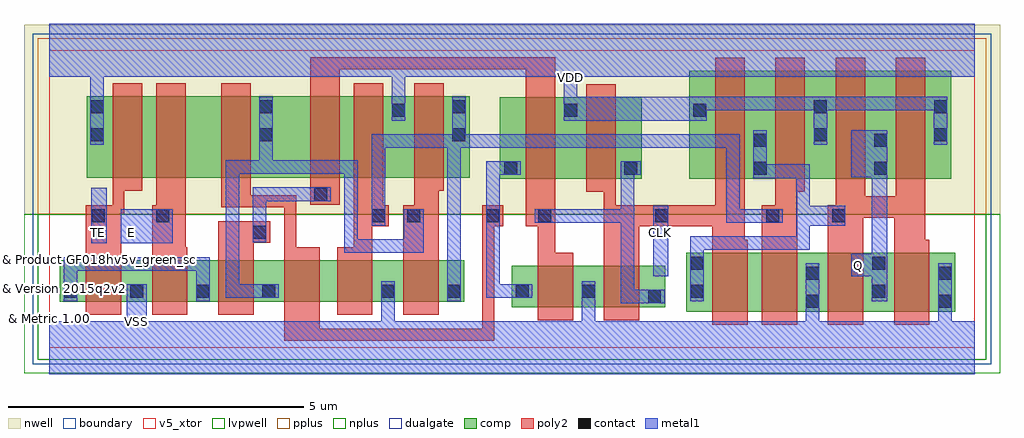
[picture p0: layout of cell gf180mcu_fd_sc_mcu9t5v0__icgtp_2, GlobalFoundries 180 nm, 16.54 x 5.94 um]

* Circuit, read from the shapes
.subckt gf180mcu_fd_sc_mcu9t5v0__icgtp_2 CLK E Q TE VDD VSS
XM1 VSS TE n1 VSUBS nfet_05v0 w=0.7u l=0.6u
XM2 n1 E VSS VSUBS nfet_05v0 w=0.7u l=0.6u
XM3 n2 n3 n1 VSUBS nfet_05v0 w=0.7u l=0.6u
XM4 n4 n5 n2 VSUBS nfet_05v0 w=0.7u l=0.6u
XM5 VSS n6 n4 VSUBS nfet_05v0 w=0.7u l=0.6u
XM6 n6 n2 VSS VSUBS nfet_05v0 w=0.7u l=0.6u
XM7 VSS n3 n5 VSUBS nfet_05v0 w=0.7u l=0.6u
XM8 n3 CLK VSS VSUBS nfet_05v0 w=0.7u l=0.6u
XM9 n7 CLK n8 VSUBS nfet_05v0 w=1u l=0.6u
XM10 VSS n6 n7 VSUBS nfet_05v0 w=1u l=0.6u
XM11 Q n8 VSS VSUBS nfet_05v0 w=1u l=0.6u m=2
XM12 n9 TE VDD n10 pfet_05v0 w=1.38u l=0.5u
XM13 n11 E n9 n10 pfet_05v0 w=1.38u l=0.5u
XM14 n2 n5 n11 n10 pfet_05v0 w=1.38u l=0.5u
XM15 n12 n3 n2 n10 pfet_05v0 w=1.38u l=0.5u
XM16 VDD n6 n12 n10 pfet_05v0 w=1.38u l=0.5u
XM17 n6 n2 VDD n10 pfet_05v0 w=1.38u l=0.5u
XM18 VDD n3 n5 n10 pfet_05v0 w=1.38u l=0.5u
XM19 n3 CLK VDD n10 pfet_05v0 w=1.38u l=0.5u
XM20 n8 CLK VDD n10 pfet_05v0 w=1.83u l=0.5u
XM21 VDD n6 n8 n10 pfet_05v0 w=1.83u l=0.5u
XM22 Q n8 VDD n10 pfet_05v0 w=1.83u l=0.5u m=2
.ends

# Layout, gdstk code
import gdstk
lib = gdstk.Library(unit=1e-6, precision=1e-09)
def R(c, l, rs):  # rectangles x0, y0, x1, y1
    for r in rs: c.add(gdstk.rectangle(r[:2], r[2:], *l))
def A(c, l, x, y, w, h, nx, ny, dx, dy):  # array of equal rectangles
    R(c, l, [(x+i*dx, y+j*dy, x+i*dx+w, y+j*dy+h) for i in range(nx) for j in range(ny)])
def P(c, l, *ps):  # polygons
    for p in ps: c.add(gdstk.Polygon(p, *l))
boundary = (0, 0)
nwell = (21, 0)
comp = (22, 0)
poly2 = (30, 0)
pplus = (31, 0)
nplus = (32, 0)
contact = (33, 0)
metal1 = (34, 0)
dualgate = (55, 0)
v5_xtor = (112, 1)
lvpwell = (204, 0)

gf180mcu_fd_sc_mcu9t5v0_ = lib.new_cell('gf180mcu_fd_sc_mcu9t5v0__icgtp_2')
R(gf180mcu_fd_sc_mcu9t5v0_, boundary, [(0,0,15.68,5.04)])
R(gf180mcu_fd_sc_mcu9t5v0_, nwell, [(-0.43,2.265,16.11,5.47)])
R(gf180mcu_fd_sc_mcu9t5v0_, comp, [(10.795,0.61,15.355,1.61), (7.835,0.685,10.435,1.385), (0.18,0.78,7.035,1.48), (7.635,2.865,10.035,4.245), (10.845,2.865,15.285,4.695), (0.63,2.88,7.12,4.26)])
P(gf180mcu_fd_sc_mcu9t5v0_, poly2, [(0.62,0.56),(0.62,2.415),(1.07,2.415),(1.07,4.48),(1.57,4.48),(1.57,2.66),(1.27,2.66),(1.27,2.28),(1.22,2.28),(1.22,0.56)],
  [(1.74,0.56),(1.74,2.415),(1.81,2.415),(1.81,4.48),(2.31,4.48),(2.31,1.7),(2.34,1.7),(2.34,0.56)],
  [(2.86,0.56),(2.86,2.14),(3.74,2.14),(3.74,1.78),(3.46,1.78),(3.46,0.56)],
  [(4.875,0.56),(4.875,1.7),(5.16,1.7),(5.16,4.48),(5.66,4.48),(5.66,2.415),(5.755,2.415),(5.755,2.055),(5.475,2.055),(5.475,0.56)],
  [(5.995,0.56),(5.995,2.415),(6.18,2.415),(6.18,4.48),(6.68,4.48),(6.68,2.66),(6.595,2.66),(6.595,0.56)],
  [(3.98,0.12),(3.98,2.38),(2.91,2.38),(2.91,4.48),(3.41,4.48),(3.41,2.58),(4.18,2.58),(4.18,1.7),(4.58,1.7),(4.58,0.32),(7.335,0.32),(7.335,2.415),(7.695,2.415),(7.695,2.055),(7.535,2.055),(7.535,0.12)],
  [(8.275,0.465),(8.275,2.055),(8.075,2.055),(8.075,4.72),(4.92,4.72),(4.92,2.42),(4.42,2.42),(4.42,4.92),(8.575,4.92),(8.575,1.605),(8.875,1.605),(8.875,0.465)],
  [(11.235,0.39),(11.235,2.055),(9.995,2.055),(9.995,0.465),(9.395,0.465),(9.395,2.645),(9.095,2.645),(9.095,4.465),(9.595,4.465),(9.595,2.415),(11.285,2.415),(11.285,4.915),(11.785,4.915),(11.785,1.83),(11.835,1.83),(11.835,0.39)],
  [(12.075,0.39),(12.075,2.415),(12.305,2.415),(12.305,4.915),(12.805,4.915),(12.805,2.645),(12.675,2.645),(12.675,0.39)],
  [(13.195,0.39),(13.195,2.415),(13.325,2.415),(13.325,4.915),(13.825,4.915),(13.825,2.565),(14.345,2.565),(14.345,4.915),(14.845,4.915),(14.845,1.83),(14.915,1.83),(14.915,0.39),(14.315,0.39),(14.315,2.205),(13.795,2.205),(13.795,0.39)])
R(gf180mcu_fd_sc_mcu9t5v0_, pplus, [(-0.2,2.265,15.88,5.24)])
R(gf180mcu_fd_sc_mcu9t5v0_, nplus, [(-0.2,-0.2,15.88,2.265)])
A(gf180mcu_fd_sc_mcu9t5v0_, contact, 0.25, 0.85, 0.22, 0.22, 4, 1, 1.12, 0)
R(gf180mcu_fd_sc_mcu9t5v0_, contact, [(12.825,0.68,13.045,0.9), (15.065,0.68,15.285,0.9), (10.145,0.755,10.365,0.975), (5.625,0.85,5.845,1.07), (6.745,0.85,6.965,1.07), (7.905,0.85,8.125,1.07), (9.025,0.85,9.245,1.07), (10.865,0.85,11.085,1.07), (13.945,0.85,14.165,1.07), (12.825,1.15,13.045,1.37), (15.065,1.15,15.285,1.37), (10.865,1.32,11.085,1.54), (13.945,1.32,14.165,1.54), (3.45,1.85,3.67,2.07), (0.715,2.125,0.935,2.345), (1.81,2.125,2.03,2.345), (5.465,2.125,5.685,2.345), (6.065,2.125,6.285,2.345), (7.405,2.125,7.625,2.345), (8.285,2.125,8.505,2.345), (10.265,2.125,10.485,2.345), (12.145,2.125,12.365,2.345), (13.265,2.125,13.485,2.345), (4.49,2.49,4.71,2.71), (7.705,2.935,7.925,3.155), (9.745,2.935,9.965,3.155), (11.935,2.935,12.155,3.155), (13.975,2.935,14.195,3.155), (11.935,3.405,12.155,3.625), (13.975,3.405,14.195,3.625), (0.7,3.5,0.92,3.72), (3.56,3.5,3.78,3.72), (6.83,3.5,7.05,3.72), (12.955,3.5,13.175,3.72), (14.995,3.5,15.215,3.72), (5.81,3.91,6.03,4.13), (8.725,3.91,8.945,4.13), (10.915,3.91,11.135,4.13), (0.7,3.97,0.92,4.19), (3.56,3.97,3.78,4.19), (6.83,3.97,7.05,4.19), (12.955,3.97,13.175,4.19), (14.995,3.97,15.215,4.19)])
R(gf180mcu_fd_sc_mcu9t5v0_, metal1, [(10.23,1.21,10.49,2.405), (0.71,1.77,0.97,2.71), (1.21,1.77,2.09,2.35)])
P(gf180mcu_fd_sc_mcu9t5v0_, metal1, [(0.245,0.79),(0.245,1.535),(2.715,1.535),(2.715,0.79),(2.485,0.79),(2.485,1.305),(0.475,1.305),(0.475,0.79)],
  [(3.445,1.79),(3.445,2.715),(4.77,2.715),(4.77,2.485),(3.675,2.485),(3.675,1.79)],
  [(2.985,0.845),(2.985,3.175),(3.555,3.175),(3.555,4.25),(3.785,4.25),(3.785,3.175),(5.23,3.175),(5.23,1.835),(6.005,1.835),(6.005,2.35),(6.345,2.35),(6.345,1.605),(5,1.605),(5,2.945),(3.215,2.945),(3.215,1.075),(3.89,1.075),(3.89,0.845)],
  [(7.4,0.845),(7.4,3.16),(7.985,3.16),(7.985,2.93),(7.63,2.93),(7.63,1.075),(8.185,1.075),(8.185,0.845)],
  [(9.685,0.75),(9.685,2.12),(8.225,2.12),(8.225,2.35),(9.685,2.35),(9.685,3.16),(10.025,3.16),(10.025,2.93),(9.915,2.93),(9.915,0.98),(10.425,0.98),(10.425,0.75)],
  [(6.74,0.79),(6.74,3.39),(5.69,3.39),(5.69,2.065),(5.46,2.065),(5.46,3.62),(6.825,3.62),(6.825,4.25),(7.055,4.25),(7.055,3.62),(11.7,3.62),(11.7,2.35),(12.425,2.35),(12.425,2.12),(11.47,2.12),(11.47,3.39),(6.97,3.39),(6.97,0.79)],
  [(10.86,0.79),(10.86,1.89),(12.655,1.89),(12.655,2.875),(11.93,2.875),(11.93,3.685),(12.16,3.685),(12.16,3.105),(12.885,3.105),(12.885,2.405),(13.49,2.405),(13.49,2.065),(12.885,2.065),(12.885,1.66),(11.09,1.66),(11.09,0.79)],
  [(13.94,0.79),(13.94,1.21),(13.59,1.21),(13.59,1.59),(13.94,1.59),(13.94,2.89),(13.59,2.89),(13.59,3.685),(14.2,3.685),(14.2,0.79)],
  [(0,-0.45),(0,0.45),(1.31,0.45),(1.31,1.075),(1.65,1.075),(1.65,0.45),(5.62,0.45),(5.62,1.13),(5.85,1.13),(5.85,0.45),(9.02,0.45),(9.02,1.13),(9.25,1.13),(9.25,0.45),(12.82,0.45),(12.82,1.43),(13.05,1.43),(13.05,0.45),(15.06,0.45),(15.06,1.43),(15.29,1.43),(15.29,0.45),(15.68,0.45),(15.68,-0.45)],
  [(0.695,3.44),(0.695,4.59),(0,4.59),(0,5.49),(15.68,5.49),(15.68,4.59),(8.95,4.59),(8.95,4.25),(15.22,4.25),(15.22,3.44),(14.99,3.44),(14.99,4.02),(13.18,4.02),(13.18,3.44),(12.95,3.44),(12.95,4.02),(11.14,4.02),(11.14,3.85),(8.72,3.85),(8.72,4.59),(6.035,4.59),(6.035,3.85),(5.805,3.85),(5.805,4.59),(0.925,4.59),(0.925,3.44)])
R(gf180mcu_fd_sc_mcu9t5v0_, dualgate, [(-0.28,-0.28,15.96,5.32)])
R(gf180mcu_fd_sc_mcu9t5v0_, v5_xtor, [(0,0,15.68,5.04)])
R(gf180mcu_fd_sc_mcu9t5v0_, lvpwell, [(-0.43,-0.43,16.11,2.265)])
gf180mcu_fd_sc_mcu9t5v0_.add(gdstk.Label('CLK', (10.36,1.96), layer=34, texttype=10))
gf180mcu_fd_sc_mcu9t5v0_.add(gdstk.Label('E', (1.4,1.96), layer=34, texttype=10))
gf180mcu_fd_sc_mcu9t5v0_.add(gdstk.Label('Q', (13.72,1.4), layer=34, texttype=10))
gf180mcu_fd_sc_mcu9t5v0_.add(gdstk.Label('TE', (0.84,1.96), layer=34, texttype=10))
gf180mcu_fd_sc_mcu9t5v0_.add(gdstk.Label('VDD', (8.835,4.585), layer=34, texttype=10))
gf180mcu_fd_sc_mcu9t5v0_.add(gdstk.Label('VSS', (1.48,0.45), layer=34, texttype=10))
gf180mcu_fd_sc_mcu9t5v0_.add(gdstk.Label('& Vendor GLOBALFOUNDRIES', (0,2), layer=63, texttype=63))
gf180mcu_fd_sc_mcu9t5v0_.add(gdstk.Label('& Product GF018hv5v_green_sc9', (0,1.5), layer=63, texttype=63))
gf180mcu_fd_sc_mcu9t5v0_.add(gdstk.Label('& Version 2015q2v2', (0,1), layer=63, texttype=63))
gf180mcu_fd_sc_mcu9t5v0_.add(gdstk.Label('& Metric 1.00', (0,0.5), layer=63, texttype=63))

lib.write_gds('gf180mcu_fd_sc_mcu9t5v0__icgtp_2.gds')
